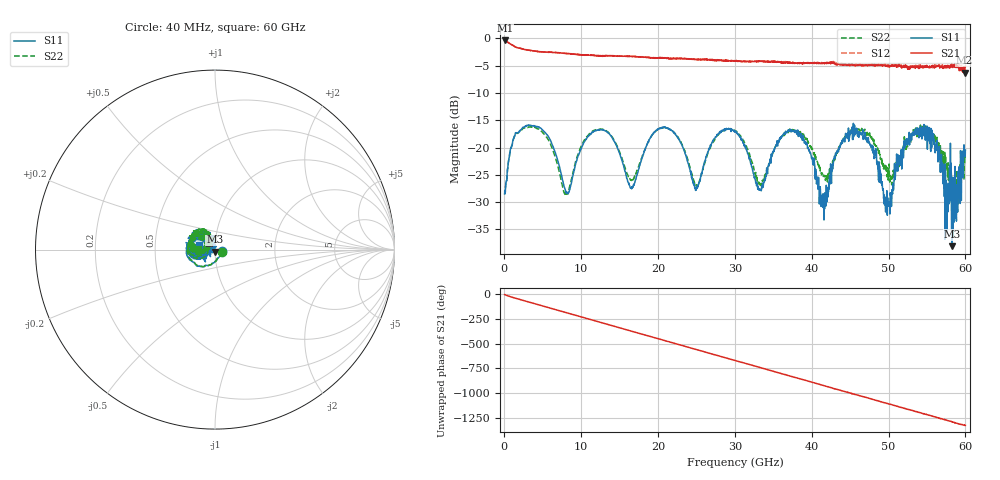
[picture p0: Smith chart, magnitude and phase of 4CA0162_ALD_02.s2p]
! File created by 'SoftPlot +Plus+ Measurement Management Software'
! SoftPlot +Plus+ Measurement Management Software
! Start 40.000000 MHz  Stop 60.000000 GHz  Points 1601
# MHZ S RI R 50
! S-Parameter data, F S11 S21 S12 S22
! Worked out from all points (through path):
!   1601 points, 40 MHz to 60 GHz, reference 50 ohm
!   highest |S21| = -0.37 dB at 77.47 MHz (marker M1); lowest = -6.3 dB at 59.89 GHz (marker M2)
!   group delay of S21, straight-line fit = 61.2 ps
!   lowest |S11| = -38.1 dB at 58.24 GHz (marker M3), VSWR 1.03, Z = 49.9 - j1.24 ohm
!   |S11| at or under -10 dB: start of sweep to end of sweep
!   |S22| runs from -30.5 to -15.9 dB; largest |S21 - S12| = 0.065
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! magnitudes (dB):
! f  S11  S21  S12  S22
! 40 MHz  -28.5  -0.4  -0.4  -27.9
! 77.47 MHz  -27.9  -0.4  -0.4  -28.2
! 2.663 GHz  -16.1  -2.0  -2.0  -16.3
! 5.699 GHz  -17.9  -2.5  -2.6  -18.5
! 7.985 GHz  -27.9  -2.8  -2.7  -28.8
! 10.05 GHz  -20.1  -3.0  -3.0  -19.6
! 13.42 GHz  -17.2  -3.2  -3.2  -17.1
! 16.6 GHz  -27.2  -3.3  -3.3  -25.9
! 20.05 GHz  -16.6  -3.6  -3.5  -16.6
! 24.96 GHz  -27.8  -3.8  -3.8  -26.8
! 30.02 GHz  -16.9  -4.1  -4.0  -16.9
! 33.21 GHz  -27.7  -4.2  -4.1  -26.8
! 36.88 GHz  -17.1  -4.4  -4.3  -17.0
! 40.03 GHz  -21.7  -4.5  -4.5  -20.0
! 41.56 GHz  -30.7  -4.5  -4.5  -25.0
! 43.92 GHz  -19.0  -4.6  -4.6  -19.2
! 46.47 GHz  -17.7  -5.0  -4.8  -16.9
! 50.03 GHz  -30.3  -5.0  -5.0  -23.8
! 54 GHz  -16.8  -5.5  -5.2  -16.2
! 58.24 GHz  -38.1  -5.2  -4.6  -27.5
! 59.89 GHz  -21.6  -6.3  -5.5  -23.2
! 60 GHz  -20.4  -5.1  -5.6  -20.7
